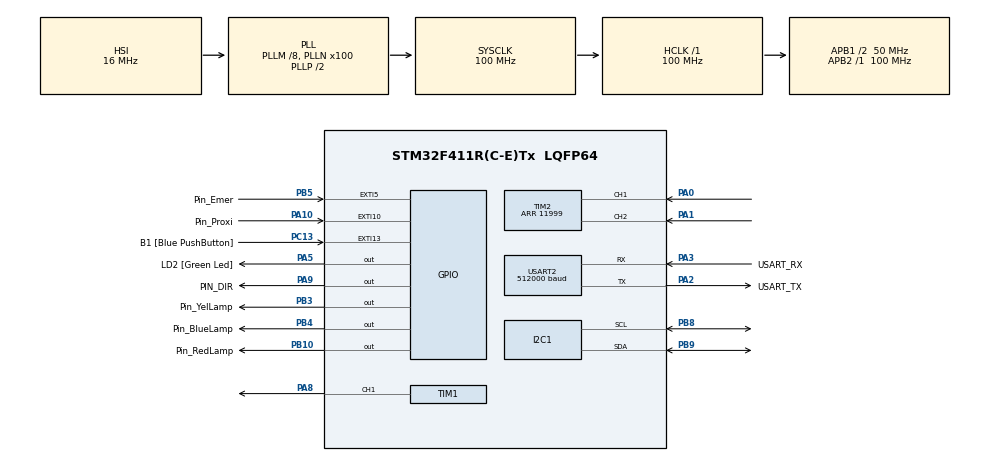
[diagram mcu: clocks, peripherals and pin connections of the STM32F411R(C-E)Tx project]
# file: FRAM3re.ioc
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ARM.CMSIS.5.6.0.CMSISJjCORE=true
ARM.CMSIS.5.6.0.CMSISJjDSP=Library
Dma.Request0=USART2_RX
Dma.Request1=USART2_TX
Dma.USART2_RX.0.Direction=DMA_PERIPH_TO_MEMORY
Dma.USART2_RX.0.FIFOMode=DMA_FIFOMODE_DISABLE
Dma.USART2_RX.0.Instance=DMA1_Stream5
Dma.USART2_RX.0.MemDataAlignment=DMA_MDATAALIGN_BYTE
Dma.USART2_RX.0.MemInc=DMA_MINC_ENABLE
Dma.USART2_RX.0.Mode=DMA_NORMAL
Dma.USART2_RX.0.PeriphDataAlignment=DMA_PDATAALIGN_BYTE
Dma.USART2_RX.0.PeriphInc=DMA_PINC_DISABLE
Dma.USART2_RX.0.Priority=DMA_PRIORITY_LOW
Dma.USART2_TX.1.Direction=DMA_MEMORY_TO_PERIPH
Dma.USART2_TX.1.FIFOMode=DMA_FIFOMODE_DISABLE
Dma.USART2_TX.1.Instance=DMA1_Stream6
Dma.USART2_TX.1.MemDataAlignment=DMA_MDATAALIGN_BYTE
Dma.USART2_TX.1.MemInc=DMA_MINC_ENABLE
Dma.USART2_TX.1.Mode=DMA_NORMAL
Dma.USART2_TX.1.PeriphDataAlignment=DMA_PDATAALIGN_BYTE
Dma.USART2_TX.1.PeriphInc=DMA_PINC_DISABLE
Dma.USART2_TX.1.Priority=DMA_PRIORITY_LOW
I2C1.I2C_Mode=I2C_Fast
Mcu.Family=STM32F4
Mcu.Name=STM32F411R(C-E)Tx
Mcu.Package=LQFP64
NVIC.DMA1_Stream5_IRQn=true\:0\:0\:false\:false\:true\:false\:true\:true
NVIC.DMA1_Stream6_IRQn=true\:0\:0\:false\:false\:true\:false\:true\:true
NVIC.EXTI15_10_IRQn=true\:0\:0\:false\:false\:true\:true\:true\:true
NVIC.EXTI9_5_IRQn=true\:0\:0\:false\:false\:true\:true\:true\:true
NVIC.I2C1_ER_IRQn=true\:0\:0\:false\:false\:true\:true\:true\:true
NVIC.I2C1_EV_IRQn=true\:0\:0\:false\:false\:true\:true\:true\:true
NVIC.PriorityGroup=NVIC_PRIORITYGROUP_0
NVIC.TIM1_TRG_COM_TIM11_IRQn=true\:0\:0\:false\:false\:true\:true\:true\:true
NVIC.TIM5_IRQn=true\:0\:0\:false\:false\:true\:true\:true\:true
NVIC.USART2_IRQn=true\:0\:0\:false\:false\:true\:true\:true\:true
PA0-WKUP.Signal=S_TIM2_CH1_ETR
PA1.Signal=S_TIM2_CH2
PA10.GPIO_Label=Pin_Proxi
PA10.GPIO_ModeDefaultEXTI=GPIO_MODE_IT_RISING_FALLING
PA10.Signal=GPXTI10
PA13.GPIO_Label=TMS
PA13.Mode=Serial_Wire
PA13.Signal=SYS_JTMS-SWDIO
PA14.GPIO_Label=TCK
PA14.Mode=Serial_Wire
PA14.Signal=SYS_JTCK-SWCLK
PA2.GPIO_Label=USART_TX
PA2.Mode=Asynchronous
PA2.Signal=USART2_TX
PA3.GPIO_Label=USART_RX
PA3.Mode=Asynchronous
PA3.Signal=USART2_RX
PA5.GPIO_Label=LD2 [Green Led]
PA5.Signal=GPIO_Output
PA8.Signal=S_TIM1_CH1
PA9.GPIO_Label=PIN_DIR
PA9.Signal=GPIO_Output
PB10.GPIO_Label=Pin_RedLamp
PB10.Signal=GPIO_Output
PB3.GPIO_Label=Pin_YelLamp
PB3.Signal=GPIO_Output
PB4.GPIO_Label=Pin_BlueLamp
PB4.Signal=GPIO_Output
PB5.GPIO_Label=Pin_Emer
PB5.GPIO_ModeDefaultEXTI=GPIO_MODE_IT_RISING_FALLING
PB5.Signal=GPXTI5
PB8.Mode=I2C
PB8.Signal=I2C1_SCL
PB9.Mode=I2C
PB9.Signal=I2C1_SDA
PC13-ANTI_TAMP.GPIO_Label=B1 [Blue PushButton]
PC13-ANTI_TAMP.GPIO_ModeDefaultEXTI=GPIO_MODE_IT_FALLING
PC13-ANTI_TAMP.Signal=GPXTI13
PC14-OSC32_IN.Mode=LSE-External-Oscillator
PC14-OSC32_IN.Signal=RCC_OSC32_IN
PC15-OSC32_OUT.Mode=LSE-External-Oscillator
PC15-OSC32_OUT.Signal=RCC_OSC32_OUT
PH0\ -\ OSC_IN.Mode=HSE-External-Clock-Source
PH0\ -\ OSC_IN.Signal=RCC_OSC_IN
PH1\ -\ OSC_OUT.Mode=HSE-External-Clock-Source
PH1\ -\ OSC_OUT.Signal=RCC_OSC_OUT
ProjectManager.HeapSize=0x200
ProjectManager.StackSize=0x400
ProjectManager.TargetToolchain=STM32CubeIDE
RCC.48MHZClocksFreq_Value=50000000
RCC.AHBFreq_Value=100000000
RCC.APB1CLKDivider=RCC_HCLK_DIV2
RCC.APB1Freq_Value=50000000
RCC.APB1TimFreq_Value=100000000
RCC.APB2Freq_Value=100000000
RCC.APB2TimFreq_Value=100000000
RCC.CortexFreq_Value=100000000
RCC.FLatency-AdvancedSettings=FLASH_LATENCY_3
RCC.HCLKFreq_Value=100000000
RCC.HSE_VALUE=8000000
RCC.HSI_VALUE=16000000
RCC.PLLM=8
RCC.PLLN=100
RCC.SYSCLKFreq_VALUE=100000000
RCC.SYSCLKSource=RCC_SYSCLKSOURCE_PLLCLK
RCC.VCOOutputFreq_Value=200000000
SH.S_TIM1_CH1.0=TIM1_CH1,PWM Generation1 CH1
SH.S_TIM2_CH1_ETR.0=TIM2_CH1,Encoder_Interface
SH.S_TIM2_CH2.0=TIM2_CH2,Encoder_Interface
TIM1.Channel-PWM\ Generation1\ CH1=TIM_CHANNEL_1
TIM1.Period=9999
TIM1.Prescaler=0
TIM11.Prescaler=99
TIM2.EncoderMode=TIM_ENCODERMODE_TI12
TIM2.Period=11999
TIM5.Period=99999
TIM5.Prescaler=99
TIM5.TIM_MasterOutputTrigger=TIM_TRGO_UPDATE
USART2.BaudRate=512000
USART2.Parity=PARITY_EVEN
USART2.VirtualMode=VM_ASYNC
USART2.WordLength=WORDLENGTH_9B
VP_ARM.CMSIS_VS_CMSISJjCORE_5.3.0_5.6.0.Mode=CMSISJjCORE
VP_ARM.CMSIS_VS_CMSISJjDSP_1.7.0_5.6.0.Mode=CMSISJjDSP
VP_TIM11_VS_ClockSourceINT.Mode=Enable_Timer
VP_TIM5_VS_ClockSourceINT.Mode=Internal
board=NUCLEO-F411RE

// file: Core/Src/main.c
/* USER CODE BEGIN Header */
/**
  ******************************************************************************
  * @file           : main.c
  * @brief          : Main program body
  ******************************************************************************
  * @attention
  *
  * Copyright (c) 2022 STMicroelectronics.
  * All rights reserved.
  *
  * This software is licensed under terms that can be found in the LICENSE file
  * in the root directory of this software component.
  * If no LICENSE file comes with this software, it is provided AS-IS.
  *
  ******************************************************************************
  */
/* USER CODE END Header */
#include "main.h"

/* USER CODE BEGIN Includes */
#include <stdio.h>
#include <string.h>
#include <math.h>
#include "arm_math.h"

#include "biquad.h"
#include "PID.h"
#include "Kalman.h"
#include "PIDVelocity.h"
#include "Trajectory.h"
#include "uartRingBufDMA.h"
/* USER CODE END Includes */

/* USER CODE BEGIN PD */
// ---------------------------------UART--------------------------------- //
#define UART huart2
#define DMA hdma_usart2_rx
#define RxBuf_SIZE 20 // Max Byte 18
#define TxBuf_SIZE 8 // Max Byte 8
#define MainBuf_SIZE 20 // Max Byte 18
// ---------------------------------UART--------------------------------- //
// ---------------------------------I2C---------------------------------- //
#define Endeff_ADDR 0x23<<1
#define Endeff_TEST 0x45
#define EndEffRxBuf_SIZE 1
#define EndEffTxBuf_SIZE 1
#define I2CRxDataLen 1
#define I2CTxDataLen 1
// ---------------------------------I2C---------------------------------- //
// ---------------------------------CTRL--------------------------------- //
#define dt  0.01f
#define Kalmanvar  60000.0f
#define RVar 10.0f
#define PosVar 0.005f
#define VeloVar 35000.0f
#define Pvar  1000.0f
#define PWM_MAX 10000 // Max 10000
// ---------------------------------CTRL--------------------------------- //
/* USER CODE END PD */

 I2C_HandleTypeDef hi2c1;

TIM_HandleTypeDef htim1;
TIM_HandleTypeDef htim2;
TIM_HandleTypeDef htim5;
TIM_HandleTypeDef htim11;

UART_HandleTypeDef huart2;
DMA_HandleTypeDef hdma_usart2_rx;
DMA_HandleTypeDef hdma_usart2_tx;

/* USER CODE BEGIN PV */
// ---------------------------------MainRobot---------------------------------- //
RobotManagement Robot;
// Home Parameter
uint8_t homeFF = 0;
static float homePoint[2] = {0};
// All State Variable
enum{AwaitSethome,MCUDisconnect ,MCUConnect} UARTState = AwaitSethome;
enum{init, FindHome , NormalOperation, EndEff, Emergency} RobotState = init;
enum{idle,CheckBeforRun,OpenLaser,SetupReadStatus,ReadStatus} EndEffState = CheckBeforRun;
enum{Opening,Closing,Working,AwaitCommand} EndEffStatus = AwaitCommand;
// ---------------------------------MainRobot---------------------------------- //
// ---------------------------------UART--------------------------------- //
//------Edit Station Here----//
float goalDeg[10] = {30, 60, 90, 120, 150, 180, 210, 240, 270, 300};
//------Edit Station Here----//
static uint8_t RxBuf[RxBuf_SIZE];
static uint8_t MainBuf[MainBuf_SIZE];
static uint8_t TxBuf[TxBuf_SIZE];
static uint8_t stateSwitch = 0;
static uint16_t oldPos = 0;
static uint16_t newPos = 0;
static uint16_t dataSize = 0;
uint8_t ACK_1[2] = { 0x58, 0b01110101 };
uint8_t ACK_2[2] = { 70, 0b01101110 };
 //for sending data to base sys
 uint16_t posData = 0;
 uint8_t veloData = 0;
 float uartVelo = 0;
 float uartPos = 0;
 uint8_t uartGoal[15];
 uint8_t goalAmount = 0;
 int8_t goalIDX = 0;
 uint8_t goalFlag = 0; // 1 = Angular Pos, 2 = Single Goal, Multi Goal
 uint8_t endEffFlag = 0;
 uint8_t homingFlag = 0;
 uint8_t doingTaskFlag = 0;
 uint8_t goingToGoalFlag = 0;
 uint8_t openLaserWriteFlag = 0;
 uint8_t notContinueFlag = 0;
 uint8_t modeNo = 0;
 uint8_t modeByte = 0;

 // ---------------------------------UART--------------------------------- //
 // ---------------------------------CTRL--------------------------------- //
 uint64_t _micro = 0;
 uint64_t timeElapsed[2] = {0};
 uint64_t EndEffLoopTime = 0;
/* Setup EncoderData */
int EncoderRawData[2] = {0};
int WrappingStep = 0;
int PositionRaw = 0;
float32_t PositionDeg[2] = {0};
float32_t VelocityDeg = 0;
float invTFOutput = 0;
KalmanFilterVar KalmanVar = {
		{1.0,dt,0.5*dt*dt,0.0,1.0,dt,0.0,0.0,1.0}, // A
		{0.0,0.0,0.0}, // B
		{1.0,0.0,0.0,0.0,1.0,0.0}, // C
		{0.0}, // D
		{dt*dt*dt*dt*Kalmanvar/4,dt*dt*dt*Kalmanvar/2,dt*dt*Kalmanvar/2,dt*dt*dt*Kalmanvar/2,dt*dt*Kalmanvar,dt*Kalmanvar,dt*dt*Kalmanvar/2,dt*Kalmanvar,Kalmanvar},
		{PosVar,RVar,RVar,VeloVar}, //R
		{0,0,((dt*dt*dt))/6,0,0,((dt*dt))/2,0,0,dt},//G
		{0.0,0.0,0.0}, // STATE X
		{0.0,0.0,0.0}, // STATE X-1
		{Pvar,0.0,0.0,0.0,Pvar,0.0,0.0,0.0,Pvar}, // STATE P
		{Pvar,0.0,0.0,0.0,Pvar,0.0,0.0,0.0,Pvar}, // STATE P-1
		{0.0,0.0}, // Y
		{0.0,0.0}, // Z
		{0.0,0.0,0.0,0.0}, // S
		{0.0,0.0,0.0,0.0,0.0,0.0}, // K
		{1.0,0.0,0.0,0.0,1.0,0.0,0.0,0.0,1.0}, // I
		{0.0,0.0,0.0,0.0,0.0,0.0,0.0,0.0,0.0},	// Matrix At
		{0.0,0.0,0.0},	// Matrix Gt
		{0.0,0.0,0.0},	// Matrix GQ
		{0.0,0.0,0.0,0.0,0.0,0.0},	// Matrix Ct
		{0.0,0.0,0.0,0.0},	// Matrix Sinv
		{0.0,0.0,0.0,0.0,0.0,0.0,0.0,0.0,0.0},	// Matrix GQGt
		{0.0,0.0,0.0,0.0,0.0,0.0},	// Matrix CPk
		{0.0,0.0,0.0,0.0,0.0,0.0,0.0,0.0,0.0},	// Matrix APK
		{0.0,0.0,0.0,0.0,0.0,0.0,0.0,0.0,0.0},	// Matrix APKAt
		{0.0,0.0},	// Matrix CXk
		{0.0,0.0,0.0,0.0},	// Matrix CPkCt
		{0.0,0.0,0.0,0.0,0.0,0.0},	// Matrix PkCt
		{0.0,0.0,0.0},	// Matrix KYk
		{0.0,0.0,0.0,0.0,0.0,0.0,0.0,0.0,0.0},	// Matrix KC
		{0.0,0.0,0.0,0.0,0.0,0.0,0.0,0.0,0.0} 	// Matrix IKC
};
PIDAController PidVelo = {};
PIDAController PidPos = {};
float PWMCHECKER = 0.0f;
float PositionErrorControl = 0.3f;
TrajectoryG traject = {
		{0.0,0.0,0.0,0.0,0.0,0.0,0.0,0.0,0.0,0.0,0.0,0.0,0.0,0.0,0.0,0.0,0.0,0.0,0.0,0.0,0.0,0.0,0.0,0.0,0.0,0.0,0.0,0.0,0.0,0.0,0.0,0.0,0.0,0.0,0.0,0.0,}, //MatTime_Data
		{0.0,0.0,0.0,0.0,0.0,0.0,0.0,0.0,0.0,0.0,0.0,0.0,0.0,0.0,0.0,0.0,0.0,0.0,0.0,0.0,0.0,0.0,0.0,0.0,0.0,0.0,0.0,0.0,0.0,0.0,0.0,0.0,0.0,0.0,0.0,0.0,}, //MatTimeINV_DataI
		{0.0,0.0,0.0,0.0,0.0,0.0,}, //MatCondition_Data
		{0.0,0.0,0.0,0.0,0.0,0.0,}, //MatTA_Data
};
static uint64_t StartTime =0;
static uint64_t CurrentTime =0;
static uint64_t PredictTime =0;
static uint64_t CheckLoopStartTime =0;
static uint64_t CheckLoopStopTime =0;
static uint64_t CheckLoopDiffTime =0;
static uint64_t EmergencycalloutTime =0;
uint8_t EmertimeoutFlag =0;
uint64_t endEffLoopTime = 0;
uint64_t ControlLoopTime = 0;
// ---------------------------------CTRL--------------------------------- //
// ---------------------------------I2C---------------------------------- //
uint8_t I2CEndEffectorReadFlag = 0;
uint8_t I2CEndEffectorWriteFlag = 0;
static uint8_t I2CRxDataBuffer[EndEffRxBuf_SIZE] ={0};
static uint8_t I2CTxDataBuffer[EndEffTxBuf_SIZE] ={0};
// ---------------------------------I2C---------------------------------- //

// ****------------Test Code-----------***** //
float setpoint = 0.0f;
float setpointLast = 0.0f;
uint8_t checkemer = 0;
// ****------------Test Code-----------***** //
/* USER CODE END PV */

void SystemClock_Config(void);
static void MX_GPIO_Init(void);
static void MX_DMA_Init(void);
static void MX_USART2_UART_Init(void);
static void MX_I2C1_Init(void);
static void MX_TIM11_Init(void);
static void MX_TIM1_Init(void);
static void MX_TIM2_Init(void);
static void MX_TIM5_Init(void);
/* USER CODE BEGIN PFP */
uint64_t Micros();
uint32_t Int32Abs(int32_t number);
void Drivemotor(int32_t PWM);
void EncoderRead();
void ControllLoopAndErrorHandler();
void I2CWriteFcn(uint8_t *Wdata);
void I2CReadFcn(uint8_t *Rdata);
void RobotRunToPositon(float Destination , float VeloInput);
void TIM_ResetCounter(TIM_TypeDef* TIMx);
void EndeffLaserOpen();
void EndeffLaserReadStatus();
void UARTstateManagement(uint8_t *Mainbuffer);
void RobotstateManagement();
void EndEffstateManagement();
float InverseTFofMotor(float Velo, float PredictVelo);
float InverseTFofMotorWith1kg(float Velo, float PredictVelo);
void RobotResetAll();
/* USER CODE END PFP */

int main(void)
{

  /* MCU Configuration--------------------------------------------------------*/

  /* Reset of all peripherals, Initializes the Flash interface and the Systick. */
  HAL_Init();

  /* Configure the system clock */
  SystemClock_Config();

  /* Initialize all configured peripherals */
  MX_GPIO_Init();
  MX_DMA_Init();
  MX_USART2_UART_Init();
  MX_I2C1_Init();
  MX_TIM11_Init();
  MX_TIM1_Init();
  MX_TIM2_Init();
  MX_TIM5_Init();
  /* USER CODE BEGIN 2 */
  Ringbuf_Init();
  KalmanMatrixInit(&KalmanVar);
  TrajectorInit(&traject);
  HAL_TIM_PWM_Start(&htim1, TIM_CHANNEL_1);
  HAL_TIM_Base_Start_IT (&htim11);
  HAL_TIM_Encoder_Start(&htim2, TIM_CHANNEL_ALL);
  EncoderRawData[0]=TIM2->CNT;
  EncoderRawData[1]=EncoderRawData[0];
  PositionRaw=EncoderRawData[0];
  PIDAController_Init(&PidVelo);
  PIDAController_Init(&PidPos);
  // ****------------Test Code-----------***** //
//  Robotinit(&Robot);
//  RobotRunToPositon(360.0,51.0);
  // ****------------Test Code-----------***** //
  /* USER CODE END 2 */

  /* Infinite loop */
  /* USER CODE BEGIN WHILE */
  while (1)
  {
	  timeElapsed[0] = Micros();
	  timeElapsed[1] = HAL_GetTick();
	  RobotstateManagement();
	  if(Micros() - EndEffLoopTime > 100000)
	  {
		  EndEffLoopTime = Micros();
		  EndEffstateManagement();
	  }
	  if(Micros() - ControlLoopTime >= 10000)
	  {
		ControlLoopTime  = Micros();
		CheckLoopStartTime = Micros();
		EncoderRead();
		KalmanFilterFunction(&KalmanVar,PositionDeg[0],VelocityDeg);
		Robot.Position = PositionDeg[0];
		Robot.Velocity = KalmanVar.MatState_Data[1];
		Robot.Acceleration = KalmanVar.MatState_Data[2];
		ControllLoopAndErrorHandler();
		CheckLoopStopTime = Micros();
		CheckLoopDiffTime = CheckLoopStopTime - CheckLoopStartTime;
	  }
    /* USER CODE END WHILE */

  }
}

void SystemClock_Config(void)
{
  RCC_OscInitTypeDef RCC_OscInitStruct = {0};
  RCC_ClkInitTypeDef RCC_ClkInitStruct = {0};

  /** Configure the main internal regulator output voltage
  */
  __HAL_RCC_PWR_CLK_ENABLE();
  __HAL_PWR_VOLTAGESCALING_CONFIG(PWR_REGULATOR_VOLTAGE_SCALE1);

  /** Initializes the RCC Oscillators according to the specified parameters
  * in the RCC_OscInitTypeDef structure.
  */
  RCC_OscInitStruct.OscillatorType = RCC_OSCILLATORTYPE_HSI;
  RCC_OscInitStruct.HSIState = RCC_HSI_ON;
  RCC_OscInitStruct.HSICalibrationValue = RCC_HSICALIBRATION_DEFAULT;
  RCC_OscInitStruct.PLL.PLLState = RCC_PLL_ON;
  RCC_OscInitStruct.PLL.PLLSource = RCC_PLLSOURCE_HSI;
  RCC_OscInitStruct.PLL.PLLM = 8;
  RCC_OscInitStruct.PLL.PLLN = 100;
  RCC_OscInitStruct.PLL.PLLP = RCC_PLLP_DIV2;
  RCC_OscInitStruct.PLL.PLLQ = 4;
  if (HAL_RCC_OscConfig(&RCC_OscInitStruct) != HAL_OK)
  {
    Error_Handler();
  }

  /** Initializes the CPU, AHB and APB buses clocks
  */
  RCC_ClkInitStruct.ClockType = RCC_CLOCKTYPE_HCLK|RCC_CLOCKTYPE_SYSCLK
                              |RCC_CLOCKTYPE_PCLK1|RCC_CLOCKTYPE_PCLK2;
  RCC_ClkInitStruct.SYSCLKSource = RCC_SYSCLKSOURCE_PLLCLK;
  RCC_ClkInitStruct.AHBCLKDivider = RCC_SYSCLK_DIV1;
  RCC_ClkInitStruct.APB1CLKDivider = RCC_HCLK_DIV2;
  RCC_ClkInitStruct.APB2CLKDivider = RCC_HCLK_DIV1;

  if (HAL_RCC_ClockConfig(&RCC_ClkInitStruct, FLASH_LATENCY_3) != HAL_OK)
  {
    Error_Handler();
  }
}

static void MX_I2C1_Init(void)
{

  hi2c1.Instance = I2C1;
  hi2c1.Init.ClockSpeed = 400000;
  hi2c1.Init.DutyCycle = I2C_DUTYCYCLE_2;
  hi2c1.Init.OwnAddress1 = 0;
  hi2c1.Init.AddressingMode = I2C_ADDRESSINGMODE_7BIT;
  hi2c1.Init.DualAddressMode = I2C_DUALADDRESS_DISABLE;
  hi2c1.Init.OwnAddress2 = 0;
  hi2c1.Init.GeneralCallMode = I2C_GENERALCALL_DISABLE;
  hi2c1.Init.NoStretchMode = I2C_NOSTRETCH_DISABLE;
  if (HAL_I2C_Init(&hi2c1) != HAL_OK)
  {
    Error_Handler();
  }

}

static void MX_TIM1_Init(void)
{

  TIM_MasterConfigTypeDef sMasterConfig = {0};
  TIM_OC_InitTypeDef sConfigOC = {0};
  TIM_BreakDeadTimeConfigTypeDef sBreakDeadTimeConfig = {0};

  htim1.Instance = TIM1;
  htim1.Init.Prescaler = 0;
  htim1.Init.CounterMode = TIM_COUNTERMODE_UP;
  htim1.Init.Period = 9999;
  htim1.Init.ClockDivision = TIM_CLOCKDIVISION_DIV1;
  htim1.Init.RepetitionCounter = 0;
  htim1.Init.AutoReloadPreload = TIM_AUTORELOAD_PRELOAD_DISABLE;
  if (HAL_TIM_PWM_Init(&htim1) != HAL_OK)
  {
    Error_Handler();
  }
  sMasterConfig.MasterOutputTrigger = TIM_TRGO_RESET;
  sMasterConfig.MasterSlaveMode = TIM_MASTERSLAVEMODE_DISABLE;
  if (HAL_TIMEx_MasterConfigSynchronization(&htim1, &sMasterConfig) != HAL_OK)
  {
    Error_Handler();
  }
  sConfigOC.OCMode = TIM_OCMODE_PWM1;
  sConfigOC.Pulse = 0;
  sConfigOC.OCPolarity = TIM_OCPOLARITY_HIGH;
  sConfigOC.OCNPolarity = TIM_OCNPOLARITY_HIGH;
  sConfigOC.OCFastMode = TIM_OCFAST_DISABLE;
  sConfigOC.OCIdleState = TIM_OCIDLESTATE_RESET;
  sConfigOC.OCNIdleState = TIM_OCNIDLESTATE_RESET;
  if (HAL_TIM_PWM_ConfigChannel(&htim1, &sConfigOC, TIM_CHANNEL_1) != HAL_OK)
  {
    Error_Handler();
  }
  sBreakDeadTimeConfig.OffStateRunMode = TIM_OSSR_DISABLE;
  sBreakDeadTimeConfig.OffStateIDLEMode = TIM_OSSI_DISABLE;
  sBreakDeadTimeConfig.LockLevel = TIM_LOCKLEVEL_OFF;
  sBreakDeadTimeConfig.DeadTime = 0;
  sBreakDeadTimeConfig.BreakState = TIM_BREAK_DISABLE;
  sBreakDeadTimeConfig.BreakPolarity = TIM_BREAKPOLARITY_HIGH;
  sBreakDeadTimeConfig.AutomaticOutput = TIM_AUTOMATICOUTPUT_DISABLE;
  if (HAL_TIMEx_ConfigBreakDeadTime(&htim1, &sBreakDeadTimeConfig) != HAL_OK)
  {
    Error_Handler();
  }
  HAL_TIM_MspPostInit(&htim1);

}

static void MX_TIM2_Init(void)
{

  TIM_Encoder_InitTypeDef sConfig = {0};
  TIM_MasterConfigTypeDef sMasterConfig = {0};

  htim2.Instance = TIM2;
  htim2.Init.Prescaler = 0;
  htim2.Init.CounterMode = TIM_COUNTERMODE_UP;
  htim2.Init.Period = 11999;
  htim2.Init.ClockDivision = TIM_CLOCKDIVISION_DIV1;
  htim2.Init.AutoReloadPreload = TIM_AUTORELOAD_PRELOAD_DISABLE;
  sConfig.EncoderMode = TIM_ENCODERMODE_TI12;
  sConfig.IC1Polarity = TIM_ICPOLARITY_RISING;
  sConfig.IC1Selection = TIM_ICSELECTION_DIRECTTI;
  sConfig.IC1Prescaler = TIM_ICPSC_DIV1;
  sConfig.IC1Filter = 0;
  sConfig.IC2Polarity = TIM_ICPOLARITY_RISING;
  sConfig.IC2Selection = TIM_ICSELECTION_DIRECTTI;
  sConfig.IC2Prescaler = TIM_ICPSC_DIV1;
  sConfig.IC2Filter = 0;
  if (HAL_TIM_Encoder_Init(&htim2, &sConfig) != HAL_OK)
  {
    Error_Handler();
  }
  sMasterConfig.MasterOutputTrigger = TIM_TRGO_RESET;
  sMasterConfig.MasterSlaveMode = TIM_MASTERSLAVEMODE_DISABLE;
  if (HAL_TIMEx_MasterConfigSynchronization(&htim2, &sMasterConfig) != HAL_OK)
  {
    Error_Handler();
  }

}

static void MX_TIM5_Init(void)
{

  TIM_ClockConfigTypeDef sClockSourceConfig = {0};
  TIM_MasterConfigTypeDef sMasterConfig = {0};

  htim5.Instance = TIM5;
  htim5.Init.Prescaler = 99;
  htim5.Init.CounterMode = TIM_COUNTERMODE_UP;
  htim5.Init.Period = 99999;
  htim5.Init.ClockDivision = TIM_CLOCKDIVISION_DIV1;
  htim5.Init.AutoReloadPreload = TIM_AUTORELOAD_PRELOAD_DISABLE;
  if (HAL_TIM_Base_Init(&htim5) != HAL_OK)
  {
    Error_Handler();
  }
  sClockSourceConfig.ClockSource = TIM_CLOCKSOURCE_INTERNAL;
  if (HAL_TIM_ConfigClockSource(&htim5, &sClockSourceConfig) != HAL_OK)
  {
    Error_Handler();
  }
  sMasterConfig.MasterOutputTrigger = TIM_TRGO_UPDATE;
  sMasterConfig.MasterSlaveMode = TIM_MASTERSLAVEMODE_DISABLE;
  if (HAL_TIMEx_MasterConfigSynchronization(&htim5, &sMasterConfig) != HAL_OK)
  {
    Error_Handler();
  }

}

static void MX_TIM11_Init(void)
{

  htim11.Instance = TIM11;
  htim11.Init.Prescaler = 99;
  htim11.Init.CounterMode = TIM_COUNTERMODE_UP;
  htim11.Init.Period = 65535;
  htim11.Init.ClockDivision = TIM_CLOCKDIVISION_DIV1;
  htim11.Init.AutoReloadPreload = TIM_AUTORELOAD_PRELOAD_DISABLE;
  if (HAL_TIM_Base_Init(&htim11) != HAL_OK)
  {
    Error_Handler();
  }

}

static void MX_USART2_UART_Init(void)
{

  huart2.Instance = USART2;
  huart2.Init.BaudRate = 512000;
  huart2.Init.WordLength = UART_WORDLENGTH_9B;
  huart2.Init.StopBits = UART_STOPBITS_1;
  huart2.Init.Parity = UART_PARITY_EVEN;
  huart2.Init.Mode = UART_MODE_TX_RX;
  huart2.Init.HwFlowCtl = UART_HWCONTROL_NONE;
  huart2.Init.OverSampling = UART_OVERSAMPLING_16;
  if (HAL_UART_Init(&huart2) != HAL_OK)
  {
    Error_Handler();
  }

}

static void MX_DMA_Init(void)
{

  /* DMA controller clock enable */
  __HAL_RCC_DMA1_CLK_ENABLE();

  /* DMA interrupt init */
  /* DMA1_Stream5_IRQn interrupt configuration */
  HAL_NVIC_SetPriority(DMA1_Stream5_IRQn, 0, 0);
  HAL_NVIC_EnableIRQ(DMA1_Stream5_IRQn);
  /* DMA1_Stream6_IRQn interrupt configuration */
  HAL_NVIC_SetPriority(DMA1_Stream6_IRQn, 0, 0);
  HAL_NVIC_EnableIRQ(DMA1_Stream6_IRQn);

}

static void MX_GPIO_Init(void)
{
  GPIO_InitTypeDef GPIO_InitStruct = {0};

  /* GPIO Ports Clock Enable */
  __HAL_RCC_GPIOC_CLK_ENABLE();
  __HAL_RCC_GPIOH_CLK_ENABLE();
  __HAL_RCC_GPIOA_CLK_ENABLE();
  __HAL_RCC_GPIOB_CLK_ENABLE();

  /*Configure GPIO pin Output Level */
  HAL_GPIO_WritePin(GPIOA, LD2_Pin|PIN_DIR_Pin, GPIO_PIN_RESET);

  /*Configure GPIO pin Output Level */
  HAL_GPIO_WritePin(GPIOB, Pin_RedLamp_Pin|Pin_YelLamp_Pin|Pin_BlueLamp_Pin, GPIO_PIN_RESET);

  /*Configure GPIO pin : B1_Pin */
  GPIO_InitStruct.Pin = B1_Pin;
  GPIO_InitStruct.Mode = GPIO_MODE_IT_FALLING;
  GPIO_InitStruct.Pull = GPIO_NOPULL;
  HAL_GPIO_Init(B1_GPIO_Port, &GPIO_InitStruct);

  /*Configure GPIO pins : LD2_Pin PIN_DIR_Pin */
  GPIO_InitStruct.Pin = LD2_Pin|PIN_DIR_Pin;
  GPIO_InitStruct.Mode = GPIO_MODE_OUTPUT_PP;
  GPIO_InitStruct.Pull = GPIO_NOPULL;
  GPIO_InitStruct.Speed = GPIO_SPEED_FREQ_LOW;
  HAL_GPIO_Init(GPIOA, &GPIO_InitStruct);

  /*Configure GPIO pins : Pin_RedLamp_Pin Pin_YelLamp_Pin Pin_BlueLamp_Pin */
  GPIO_InitStruct.Pin = Pin_RedLamp_Pin|Pin_YelLamp_Pin|Pin_BlueLamp_Pin;
  GPIO_InitStruct.Mode = GPIO_MODE_OUTPUT_PP;
  GPIO_InitStruct.Pull = GPIO_NOPULL;
  GPIO_InitStruct.Speed = GPIO_SPEED_FREQ_LOW;
  HAL_GPIO_Init(GPIOB, &GPIO_InitStruct);

  /*Configure GPIO pin : Pin_Proxi_Pin */
  GPIO_InitStruct.Pin = Pin_Proxi_Pin;
  GPIO_InitStruct.Mode = GPIO_MODE_IT_RISING_FALLING;
  GPIO_InitStruct.Pull = GPIO_NOPULL;
  HAL_GPIO_Init(Pin_Proxi_GPIO_Port, &GPIO_InitStruct);

  /*Configure GPIO pin : Pin_Emer_Pin */
  GPIO_InitStruct.Pin = Pin_Emer_Pin;
  GPIO_InitStruct.Mode = GPIO_MODE_IT_RISING_FALLING;
  GPIO_InitStruct.Pull = GPIO_NOPULL;
  HAL_GPIO_Init(Pin_Emer_GPIO_Port, &GPIO_InitStruct);

  /* EXTI interrupt init*/
  HAL_NVIC_SetPriority(EXTI9_5_IRQn, 0, 0);
  HAL_NVIC_EnableIRQ(EXTI9_5_IRQn);

  HAL_NVIC_SetPriority(EXTI15_10_IRQn, 0, 0);
  HAL_NVIC_EnableIRQ(EXTI15_10_IRQn);

}

/* USER CODE BEGIN 4 */
uint32_t Int32Abs(int32_t number)
{
	if(number<0){
		return number*-1;
	}else{
		return number;
	}
}

void EncoderRead()
{
	static int32_t SignalThreshold = 0.6*12000;
	EncoderRawData[0] = TIM2->CNT;
	if(EncoderRawData[0]-EncoderRawData[1]<-SignalThreshold){
		WrappingStep+=12000;
	}
	else if(EncoderRawData[0]-EncoderRawData[1]>=SignalThreshold){
		WrappingStep-=12000;
	}
	PositionRaw = EncoderRawData[0] + WrappingStep;
	PositionDeg[0] = (PositionRaw/12000.0)*360.0;
	VelocityDeg = ((PositionDeg[0] - PositionDeg[1])/dt);
	EncoderRawData[1] = EncoderRawData[0];
	PositionDeg[1] = PositionDeg[0];
}

void Drivemotor(int32_t PWM){
		if(PWM<=0 && PWM>=-PWM_MAX){
			htim1.Instance->CCR1=Int32Abs(PWM);
			HAL_GPIO_WritePin(GPIOA, GPIO_PIN_9,0);
		}else if (PWM<-PWM_MAX){
			htim1.Instance->CCR1=PWM_MAX;
			HAL_GPIO_WritePin(GPIOA, GPIO_PIN_9,0);
		}else if(PWM>=0 && PWM<=PWM_MAX){
			htim1.Instance->CCR1=Int32Abs(PWM);
			HAL_GPIO_WritePin(GPIOA, GPIO_PIN_9,1);
		}else if(PWM>PWM_MAX){
			htim1.Instance->CCR1=PWM_MAX;
			HAL_GPIO_WritePin(GPIOA, GPIO_PIN_9,1);
		}
}

float InverseTFofMotor(float Velo, float PredictVelo)
{
	static float VeloLast = 0;
	static float Voltage = 0;
	static float VoltageLast = 0;
	static float Pwm = 0;
	Voltage = (PredictVelo - (1.298649403776808*Velo) + (0.413830007244888*VeloLast) - (0.492093238713741*VoltageLast))/0.660367603263632;
	Pwm = (Voltage * 10000.0)/12.0;
	VoltageLast = Voltage;
	VeloLast = Velo;
	return Pwm;
}

float InverseTFofMotorWith1kg(float Velo, float PredictVelo)
{
	static float VeloLast = 0;
	static float Voltage = 0;
	static float VoltageLast = 0;
	static float Pwm = 0;
	Voltage = (PredictVelo - (1.396*Velo) + (0.4602*VeloLast) - (0.2687*VoltageLast))/0.3479;
	Pwm = (Voltage * 10000.0)/12.0;
	VoltageLast = Voltage;
	VeloLast = Velo;
	return Pwm;
}

void ControllLoopAndErrorHandler()
{
	if(Robot.MotorIsOn == 1)
	{
		// Start Trajectory
		// For test
		if (Robot.flagStartTime == 1)
		{
			StartTime = Micros();
			Robot.flagStartTime = 0;
			traject.TrajectoryFlag = 0;
		}
		CurrentTime = Micros();
		PredictTime = CurrentTime + 10000;
		TrajectoryEvaluation(&traject,StartTime,CurrentTime,PredictTime);
		Robot.QX = traject.QX;
		Robot.QV = traject.QV;
		Robot.QA = traject.QA;
		// Control Loop
		if(AbsVal(Robot.GoalPositon - Robot.Position) < 0.5 && AbsVal(Robot.Velocity) < 1.0 && AbsVal(Robot.GoalPositon) == AbsVal(Robot.QX))
		{
			// Set output to 0 [Motor off]
 			PWMCHECKER = 0.0;
			Drivemotor(PWMCHECKER);
			HAL_GPIO_WritePin(GPIOB, GPIO_PIN_3, GPIO_PIN_RESET);
			Robot.RunningFlag = 0;
			Robot.MotorIsOn = 0;
			PIDAController_Init(&PidVelo);
			PIDAController_Init(&PidPos);
		}
		else
		{
			PIDAPositonController_Update(&PidPos, &traject, Robot.QX , Robot.Position, Robot.QV ,traject.Vmax);
			PIDAVelocityController_Update(&PidVelo, &traject, Robot.QV + PidPos.ControllerOut , Robot.Velocity, Robot.QV ,traject.Vmax);
			invTFOutput = InverseTFofMotor(traject.QV,traject.QVP);
			PWMCHECKER = PidVelo.ControllerOut + invTFOutput;
			Drivemotor(PWMCHECKER);
		}
	}
	else
	{
		PWMCHECKER = 0.0;
		Drivemotor(PWMCHECKER);
	}

}

/* Initialize the Ring Buffer */
void Ringbuf_Init (void)
{
	memset(RxBuf, '\0', RxBuf_SIZE);
	memset(MainBuf, '\0', MainBuf_SIZE);

	oldPos = 0;
	newPos = 0;

  HAL_UARTEx_ReceiveToIdle_DMA(&UART, RxBuf, RxBuf_SIZE);
  __HAL_DMA_DISABLE_IT(&DMA, DMA_IT_HT);
}

/* Resets the Ring buffer */
void Ringbuf_Reset (void)
{
	memset(MainBuf,'\0', MainBuf_SIZE);
	memset(RxBuf, '\0', RxBuf_SIZE);
	oldPos = 0;
	newPos = 0;
}

void checkSum (uint8_t *buffertoCheckSum, uint16_t Size)
{
	uint8_t sum = 0;
	modeByte = 0;
	switch(Size){
	case 1:
	case 3:
		break;
	case 2:
		if(!(checkAck(buffertoCheckSum, Size))) modeByte = sum = buffertoCheckSum[oldPos];
		break;
	case 4:
		if(checkAck(buffertoCheckSum, Size)) modeByte = sum = buffertoCheckSum[oldPos+2 % MainBuf_SIZE];
		else{
			sum = buffertoCheckSum[oldPos] + buffertoCheckSum[oldPos+1 % MainBuf_SIZE] + buffertoCheckSum[oldPos+2 % MainBuf_SIZE];
			modeByte = buffertoCheckSum[oldPos];
		}
		break;
	default:
		modeByte = buffertoCheckSum[oldPos];
		for (int index = 0; index < Size-1; ++index)
		{
			sum = sum + buffertoCheckSum[oldPos+index % MainBuf_SIZE];
		}
	}

	if((uint8_t)buffertoCheckSum[oldPos+(Size-1) % MainBuf_SIZE] == (uint8_t)(~sum)) UARTstateManagement(MainBuf);
}

uint8_t checkAck (uint8_t *buffertoCheckAck, uint16_t Size)
{
	if((buffertoCheckAck[oldPos] == 0b01011000) && (buffertoCheckAck[oldPos+1 % MainBuf_SIZE] == 0b01110101)) return 1;
	else return 0;
}

void HAL_UARTEx_RxEventCallback(UART_HandleTypeDef *huart, uint16_t Size)
{
        if (huart->Instance == USART2)
        {
                oldPos = newPos;
                dataSize = Size;
                if (oldPos+dataSize > MainBuf_SIZE)
                {
                        oldPos = 0;
                        memcpy ((uint8_t *)MainBuf+oldPos, (uint8_t *)RxBuf, dataSize);
                        newPos = dataSize+oldPos;
                }
                else
                {
                        memcpy ((uint8_t *)MainBuf+oldPos, (uint8_t *)RxBuf, dataSize);
                        newPos = dataSize+oldPos;
                }

                checkSum(MainBuf, Size);
                HAL_UARTEx_ReceiveToIdle_DMA(&UART, (uint8_t *) RxBuf, RxBuf_SIZE);
                __HAL_DMA_DISABLE_IT(&DMA, DMA_IT_HT);
        }
}

void UARTstateManagement(uint8_t *Mainbuffer)
{
	switch (UARTState)
	{
		case AwaitSethome:
			// AFK Wait for Home calibration
			break;
		case MCUDisconnect:
			if(Mainbuffer[oldPos] == 0b10010010)
			{
				// Connect MC and Back to normal
				modeNo = 2;
				UARTState = MCUConnect;
				HAL_UART_Transmit_DMA(&UART, ACK_1, 2);
			}
			break;
		case MCUConnect:
			stateSwitch = modeByte;
			switch (stateSwitch)
			{
				// Mode 1 Test Command
				case 0b10010001:
					// Do nothing
					modeNo = 1;
					HAL_UART_Transmit_DMA(&UART, ACK_1, 2);
					break;
				// Mode 2 Connect MC
				case 0b10010010:
					// Start and Connect MC
					modeNo = 2;
					UARTState = MCUConnect;
					HAL_UART_Transmit_DMA(&UART, ACK_1, 2);
					break;
				// Mode 3 Disconnect MC
				case 0b10010011:
					// Disconnect MC
					modeNo = 3;
					UARTState = MCUDisconnect;
					HAL_UART_Transmit_DMA(&UART, ACK_1, 2);
					break;
				// Mode 4 Set Angular Velocity
				case 0b10010100:
					modeNo = 4;
					uartVelo = (float)((Mainbuffer[oldPos + 2 % MainBuf_SIZE])/255.0)*10.0;
					Robot.QVMax = uartVelo*6.0;
					HAL_UART_Transmit_DMA(&UART, ACK_1, 2);
					break;
				// Mode 5 Set Angular Position
				case 0b10010101:
					modeNo = 5;
					goalFlag = 1;
					goalAmount = 1;
					uartPos = (float)((((Mainbuffer[oldPos + 1 % MainBuf_SIZE] << 8) | Mainbuffer[oldPos + 2 % MainBuf_SIZE])*360.0)/62800);
					HAL_UART_Transmit_DMA(&UART, ACK_1, 2);
					break;
				// Mode 6 Single Goal
				case 0b10010110:
					modeNo = 6;
					goalFlag = 2;
					memset(uartGoal, '\0', 15);
					goalAmount = 1;
					uartGoal[0] = Mainbuffer[oldPos + 2 % MainBuf_SIZE];
					HAL_UART_Transmit_DMA(&UART, ACK_1, 2);
					break;
				// Mode 7 Multi Goal
				case 0b10010111:
					modeNo = 7;
					goalFlag = 2;
					memset(uartGoal, '\0', 15);
					goalAmount = Mainbuffer[oldPos + 1 % MainBuf_SIZE];
					for(int i = 0; i < ((goalAmount+1)/2); i++){
						uartGoal[0+(i*2)] = Mainbuffer[oldPos + (2+i) % MainBuf_SIZE] & 15; // low 8 bit (last 4 bit)
						uartGoal[1+(i*2)] = Mainbuffer[oldPos + (2+i) % MainBuf_SIZE] >> 4; // high 8 bit (first 4 bit)
					}
					HAL_UART_Transmit_DMA(&UART, ACK_1, 2);
					break;
				// Mode 8
				case 0b10011000:
					modeNo = 8;
					if(doingTaskFlag == 0){
					goingToGoalFlag = 0;
					Robot.MotorIsOn = 1;
					Robot.flagStartTime = 1;
					Robot.RunningFlag = 1;
					doingTaskFlag = 1;
					goalIDX = 0;
					}
					HAL_UART_Transmit_DMA(&UART, ACK_1, 2);
					break;
				// Mode 9
				case 0b10011001:
					modeNo = 9;
					Robot.CurrentStation = 0;
					if(doingTaskFlag == 1 || Robot.RunningFlag == 1){
						memcpy(TxBuf, ACK_1, 2);
						TxBuf[2] = 153; // start-mode
						TxBuf[4] = Robot.CurrentStation; // set current goal
						TxBuf[5] = (uint8_t)(~(TxBuf[2]+TxBuf[3]+TxBuf[4]));
						HAL_UART_Transmit_DMA(&UART, TxBuf, 6);
					}
					else{
						memcpy(TxBuf, ACK_2, 2);
						memcpy(TxBuf+2, ACK_1, 2);
						TxBuf[4] = 153; // start-mode
						TxBuf[6] = Robot.CurrentStation; // set currentStation
						TxBuf[7] = (uint8_t)(~(TxBuf[4]+TxBuf[5]+TxBuf[6]));
						HAL_UART_Transmit_DMA(&UART, TxBuf, 8);
					}

					break;
				// Mode 10
				case 0b10011010:
					modeNo = 10;
					posData = (uint16_t)(((((Robot.Position)*10000.0)*M_PI)/180.0));
					if(doingTaskFlag == 1 || Robot.RunningFlag == 1){
						memcpy(TxBuf, ACK_1, 2);
						TxBuf[2] = 154; // start-mode
						TxBuf[3] = (posData) >> 8 ; // set high byte posData
						TxBuf[4] = (posData) & 0xff; // set low byte posData
						TxBuf[5] = (uint8_t)(~(TxBuf[2]+TxBuf[3]+TxBuf[4]));
						HAL_UART_Transmit_DMA(&UART, TxBuf, 6);
					}
					else{
						memcpy(TxBuf, ACK_2, 2);
						memcpy(TxBuf+2, ACK_1, 2);
						TxBuf[4] = 154; // start-mode
						if(homingFlag == 1 && Robot.Position <= 0.5){
							TxBuf[5] = 0; // set high byte posData
							TxBuf[6] = 0; // set low byte posData
						}
						else{
							TxBuf[5] = (posData) >> 8 ; // set high byte posData
							TxBuf[6] = (posData) & 0xff; // set low byte posData
						}
						TxBuf[7] = (uint8_t)(~(TxBuf[4]+TxBuf[5]+TxBuf[6]));

						HAL_UART_Transmit_DMA(&UART, TxBuf, 8);
					}
					break;
				// Mode 11
				case 0b10011011:
					modeNo = 11;
					veloData = (((AbsVal(Robot.Velocity)/6.0)*255.0)/10.0);
					if(doingTaskFlag == 1 || Robot.RunningFlag == 1){
						memcpy(TxBuf, ACK_1, 2);
						TxBuf[2] = 155;
						TxBuf[4] = veloData; // set low byte posData
						TxBuf[5] = (~(TxBuf[2]+TxBuf[3]+TxBuf[4]));
						HAL_UART_Transmit_DMA(&UART, TxBuf, 6);
					}
					else{
						memcpy(TxBuf, ACK_2, 2);
						memcpy(TxBuf+2, ACK_1, 2);
						TxBuf[4] = 155; // start-mode
						TxBuf[6] = veloData; // set low byte posData
						TxBuf[7] = (uint8_t)(~(TxBuf[4]+TxBuf[5]+TxBuf[6]));
						HAL_UART_Transmit_DMA(&UART, TxBuf, 8);
					}
					break;
				// Mode 12
				case 0b10011100:
					modeNo = 12;
					if(RobotState != Emergency)
					{
						RobotState = EndEff;
						I2CEndEffectorWriteFlag = 1;
						I2CEndEffectorReadFlag =  1;
						EndEffState = CheckBeforRun;
						endEffFlag = 1;
					}
					HAL_UART_Transmit_DMA(&UART, ACK_1, 2);
					break;
				// Mode 13
				case 0b10011101:
					modeNo = 13;
					endEffFlag = 0;
					HAL_UART_Transmit_DMA(&UART, ACK_1, 2);
					break;
				// Mode 14
				case 0b10011110:
					modeNo = 14;
					RobotRunToPositon(Robot.HomePositon,51.0);
					homingFlag = 1;
					HAL_UART_Transmit_DMA(&UART, ACK_1, 2);
					break;
				}
	}
}

void RobotstateManagement()
{
	switch (RobotState)
	{
		case init:
			// Start Finding home Position
			Robot.flagSethome = 1;
			// Turn 360 Deg
			RobotRunToPositon(360.0,51.0);
			// Goto next State
			RobotState = FindHome;
			break;
		case FindHome:
			if(Robot.RunningFlag == 0)
			{
				if(Robot.flagSethome == 2)
				{
					RobotRunToPositon(Robot.HomePositon,51.0);
					Robot.RunningFlag = 1;
					Robot.flagSethome = 3;
				}
				else if(Robot.flagSethome == 3)
				{
					RobotResetAll();
					UARTState = MCUConnect;
					RobotState = NormalOperation;
				}
			}
			break;
		case NormalOperation:
			if(notContinueFlag == 1){
				Robot.MotorIsOn = 1;
				Robot.RunningFlag = 1;
				Robot.flagStartTime = 1;
				notContinueFlag = 0;
			}
			if(doingTaskFlag == 1 && Robot.RunningFlag == 1 && endEffFlag == 0){
				HAL_GPIO_WritePin(GPIOB, GPIO_PIN_3, GPIO_PIN_SET);
				if(goalFlag == 1 && goingToGoalFlag == 0){
					goingToGoalFlag = 1;
					Robot.GoalPositon = uartPos;
					CoefficientAndTimeCalculation(&traject,Robot.Position,Robot.GoalPositon,Robot.QVMax);
				}
				else if(goalFlag == 2 && goingToGoalFlag == 0){
					goingToGoalFlag = 1;
					Robot.GoalPositon = goalDeg[uartGoal[goalIDX]-1];
					CoefficientAndTimeCalculation(&traject,Robot.Position,Robot.GoalPositon,Robot.QVMax);
				}
			}

			if(endEffFlag == 0 && goingToGoalFlag == 1 && doingTaskFlag == 1){
				if(AbsVal(Robot.GoalPositon - Robot.Position) < 0.5 && AbsVal(Robot.Velocity) < 1.0){
					endEffFlag = 1;
					goingToGoalFlag = 0;
				}
			}

			if(goingToGoalFlag == 0 && doingTaskFlag == 1 && Robot.RunningFlag == 0 && endEffFlag == 1){
				RobotState = EndEff;
				I2CEndEffectorWriteFlag = 1;
				I2CEndEffectorReadFlag =  1;
				EndEffState = CheckBeforRun;
			}
			break;
		case EndEff:
			break;
		case Emergency:
			Robot.MotorIsOn = 0;
			PIDAController_Init(&PidVelo);
			PIDAController_Init(&PidPos);
			break;
	}
}

void EndEffstateManagement()
{
	switch (EndEffState)
	{
		case idle:
			// Do not thing wait for command
			EndEffStatus = AwaitCommand;
//			I2CEndEffectorWriteFlag = 1;
			break;
		case CheckBeforRun:
			// Set up Read
			I2CTxDataBuffer[0] = 0x23;
			I2CWriteFcn(I2CTxDataBuffer);
			if(hi2c1.State == HAL_I2C_STATE_READY)
			{
				I2CReadFcn(I2CRxDataBuffer);
				if(hi2c1.State == HAL_I2C_STATE_READY)
				{
					if(I2CRxDataBuffer[0] == 0x78)
					{
						EndEffState = OpenLaser;
						openLaserWriteFlag = 1;
						I2CEndEffectorWriteFlag = 1;
						I2CEndEffectorReadFlag =  0;
					}
					else
					{
						EndEffState = CheckBeforRun;
					}
				}
			}

		break;
		case OpenLaser:
			// Open Laser
			if(openLaserWriteFlag == 1){
				I2CTxDataBuffer[0] = 0x45;
				I2CWriteFcn(I2CTxDataBuffer);
				openLaserWriteFlag = 0;
				endEffLoopTime = Micros();
				HAL_GPIO_WritePin(GPIOB, GPIO_PIN_4, GPIO_PIN_SET);
			}
			if(hi2c1.State == HAL_I2C_STATE_READY && Micros() - endEffLoopTime > 50000)
			{
				EndEffState = SetupReadStatus;
				I2CEndEffectorWriteFlag = 1;
			}
			break;
		case SetupReadStatus:
			// Set up Read
			I2CTxDataBuffer[0] = 0x23;
			I2CWriteFcn(I2CTxDataBuffer);
			if(hi2c1.State == HAL_I2C_STATE_READY)
			{
				EndEffState = ReadStatus;
				I2CEndEffectorReadFlag =  1;
			}
			break;
		case ReadStatus:
			I2CReadFcn(I2CRxDataBuffer);
			if(hi2c1.State == HAL_I2C_STATE_READY)
			{
				I2CEndEffectorReadFlag =  1;
				if(I2CRxDataBuffer[0] == 0x78)
				{
					HAL_GPIO_WritePin(GPIOB, GPIO_PIN_4, GPIO_PIN_RESET);
					EndEffState = idle;
					EndEffStatus = AwaitCommand;
					endEffFlag = 0;
					// Emergency
					if(RobotState != Emergency){
						RobotState = NormalOperation;
					}
					// MultiStation
					if(doingTaskFlag == 1){
						goalIDX++;
						if(goalIDX > goalAmount-1){
							goalIDX = 0;
							goalFlag = 0;
							doingTaskFlag = 0;
						}
						else{
							notContinueFlag = 1;
						}
					}
				}
				else if(I2CRxDataBuffer[0] == 0x12)
				{
					EndEffStatus = Opening;
					EndEffState = SetupReadStatus;
					I2CEndEffectorWriteFlag = 1;
				}
				else if(I2CRxDataBuffer[0] == 0x34)
				{
					EndEffStatus = Working;
					EndEffState = SetupReadStatus;
					I2CEndEffectorWriteFlag = 1;
				}
				else if(I2CRxDataBuffer[0] == 0x56)
				{
					EndEffStatus = Closing;
					EndEffState = SetupReadStatus;
					I2CEndEffectorWriteFlag = 1;
				}
			}
			break;
	}
}

void I2CWriteFcn(uint8_t *Wdata) {
	if (I2CEndEffectorWriteFlag == 1  && hi2c1.State == HAL_I2C_STATE_READY) {
		static uint8_t data[EndEffRxBuf_SIZE];
		memcpy ((uint8_t *)data, (uint8_t *)Wdata, EndEffRxBuf_SIZE);
		HAL_I2C_Master_Transmit_IT(&hi2c1, Endeff_ADDR, data, I2CTxDataLen);
		I2CEndEffectorWriteFlag = 0;
	}
}
void I2CReadFcn(uint8_t *Rdata) {
	if (I2CEndEffectorReadFlag == 1 && hi2c1.State == HAL_I2C_STATE_READY) {
		HAL_I2C_Master_Receive_IT(&hi2c1, Endeff_ADDR, Rdata, I2CRxDataLen);
		I2CEndEffectorReadFlag =  0;
	}
}

void HAL_GPIO_EXTI_Callback(uint16_t GPIO_Pin)
{
	// ****------------Test Code-----------***** //
//	if(GPIO_Pin == GPIO_PIN_13)
//	{
//		I2CEndEffectorWriteFlag = 1;
//		I2CEndEffectorReadFlag =  1;
//		EndEffState = CheckBeforRun;
//		HAL_GPIO_TogglePin(GPIOB, GPIO_PIN_3);
//	}
	// ****------------Test Code-----------***** //
	if(GPIO_Pin == GPIO_PIN_10)
	{
		// Proxi Sensor
		if(Robot.flagSethome == 1)
		{
			homePoint[homeFF] = PositionDeg[0];
			homeFF++;
			if(homeFF == 2)
			{
				if(homePoint[1]-homePoint[0] > 180.0)
				{
					Robot.HomePositon =  0;
				}
				else
				{
					Robot.HomePositon = (homePoint[0]+homePoint[1])/2.0;
				}
				Robot.flagSethome = 2;
			}
		}
	}
	if(GPIO_Pin == GPIO_PIN_5)
	{
		if(EmertimeoutFlag == 0)
		{
			EmertimeoutFlag = 1;
		}

		if(Micros() - EmergencycalloutTime > 100000 && EmertimeoutFlag == 1)
		{
			EmergencycalloutTime = Micros();
			EmertimeoutFlag = 0;
			//Docode
			HAL_TIM_Base_Start_IT(&htim5);
		}
	}
}
void RobotRunToPositon(float Destination , float VeloInput)
{
	Robot.GoalPositon = Destination;
	Robot.QVMax = VeloInput;
	CoefficientAndTimeCalculation(&traject,Robot.Position,Robot.GoalPositon,Robot.QVMax);
	// Start Trajectory Evaluator
	Robot.MotorIsOn = 1;
	Robot.flagStartTime = 1;
	Robot.RunningFlag = 1;
	HAL_GPIO_WritePin(GPIOB, GPIO_PIN_3, GPIO_PIN_SET);
}

void RobotResetAll()
{
	// Reset Encoder
	TIM_ResetCounter(TIM2);
	EncoderRawData[0] = 0;
	EncoderRawData[1] = 0;
	WrappingStep = 0;
	// Reset Trajectory
	CoefficientAndTimeCalculation(&traject,0.0,0.0,60);
	Robot.flagStartTime = 1;
	StartTime = 0;
	CurrentTime = 0;
	// Reset Position
	PositionDeg[0] = 0;
	PositionDeg[1] = 0;
	KalmanMatrixReset(&KalmanVar, Pvar);
	Robotinit(&Robot);
	// Reset Pid
	PIDAController_Init(&PidVelo);
	PIDAController_Init(&PidPos);
	// Reset Home Buffer
	homePoint[0] = 0;
	homePoint[1] = 0;
	homeFF = 0;
}

void TIM_ResetCounter(TIM_TypeDef* TIMx)
{
  /* Check the parameters */
  assert_param(IS_TIM_ALL_PERIPH(TIMx));

  /* Reset the Counter Register value */
  TIMx->CNT = 0;
}

void HAL_TIM_PeriodElapsedCallback(TIM_HandleTypeDef *htim) {
	if (htim == &htim11) {
		_micro += 65535;
	}
	if (htim == &htim5){
		if(HAL_GPIO_ReadPin(GPIOB, GPIO_PIN_5) == GPIO_PIN_SET)
		{
			if(EndEffState != idle)
			{
				RobotState = EndEff;
			}
			else
			{
				RobotState = NormalOperation;
			}
			HAL_GPIO_WritePin(GPIOB, GPIO_PIN_10, GPIO_PIN_RESET);
			if((doingTaskFlag == 1 && goingToGoalFlag == 1) || homingFlag == 1)
			{
				RobotRunToPositon(Robot.GoalPositon,Robot.QVMax);
			}
			if(Robot.flagSethome == 1){
				RobotResetAll();
				RobotState = init;
			}
			else if(Robot.flagSethome == 2 || Robot.flagSethome == 3)
			{
				Robot.flagSethome = 3;
				RobotRunToPositon(Robot.HomePositon,Robot.QVMax);
				RobotState = FindHome;
			}
		}
		else
		{
			RobotState = Emergency;
			HAL_GPIO_WritePin(GPIOB, GPIO_PIN_10, GPIO_PIN_SET);
		}
		HAL_TIM_Base_Stop_IT(&htim5);
	}
}

uint64_t Micros(){
	return _micro + TIM11->CNT;
}
/* USER CODE END 4 */

void Error_Handler(void)
{
  __disable_irq();
  while (1)
  {
  }
}
